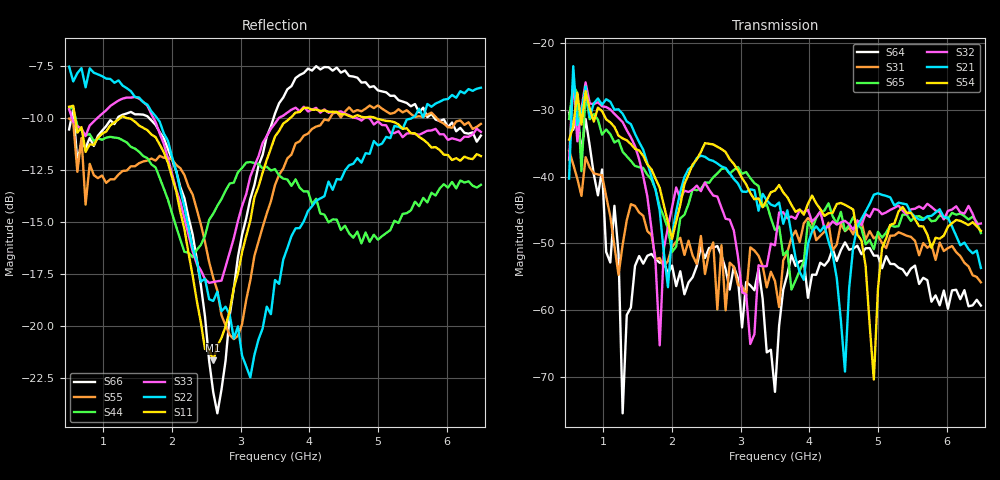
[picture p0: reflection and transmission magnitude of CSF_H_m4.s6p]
!Keysight Technologies,M9804A,MY58100912,A.14.10.03
!Date: Thursday, April 27, 2023 10:28:33
!Correction: S11(C  6-Port  )
!S12(C  6-Port  )
!S13(C  6-Port  )
!S14(C  6-Port  )
!S15(C  6-Port  )
!S16(C  6-Port  )
!S21(C  6-Port  )
!S22(C  6-Port  )
!S23(C  6-Port  )
!S24(C  6-Port  )
!S25(C  6-Port  )
!S26(C  6-Port  )
!S31(C  6-Port  )
!S32(C  6-Port  )
!S33(C  6-Port  )
!S34(C  6-Port  )
!S35(C  6-Port  )
!S36(C  6-Port  )
!S41(C  6-Port  )
!S42(C  6-Port  )
!S43(C  6-Port  )
!S44(C  6-Port  )
!S45(C  6-Port  )
!S46(C  6-Port  )
!S51(C  6-Port  )
!S52(C  6-Port  )
!S53(C  6-Port  )
!S54(C  6-Port  )
!S55(C  6-Port  )
!S56(C  6-Port  )
!S61(C  6-Port  )
!S62(C  6-Port  )
!S63(C  6-Port  )
!S64(C  6-Port  )
!S65(C  6-Port  )
!S66(C  6-Port  )
!S6P File: Measurement: :
# Hz S  RI  R 50
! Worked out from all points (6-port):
!   101 points, 500 MHz to 6.5 GHz, reference 50 ohm
!   strongest paths, dB at 500 MHz, 2 GHz, 3.5 GHz, 5 GHz, 6.5 GHz:
!     S54: -34.4, -49.3, -42.1, -56.8, -48.1
!     S21: -40.3, -48.7, -44.4, -42.5, -53.7
!     S32: -37.5, -44.6, -50.3, -45.0, -47.0
!     S65: -31.3, -51.3, -48.0, -48.2, -48.4
!     S31: -36.1, -50.5, -55.6, -48.8, -55.8
!     S64: -30.4, -53.3, -72.3, -51.8, -59.3
!   lowest |S11| = -21.6 dB at 2.6 GHz (marker M1), VSWR 1.18, Z = 42.6 + j2.04 ohm
!   |S11| at or under -10 dB: 588 MHz to 1.239 GHz (651.2 MHz wide, 71.3 % of centre); 1.362 GHz to 3.717 GHz (2.354 GHz wide, 92.7 % of centre); 4.974 GHz to end of sweep
